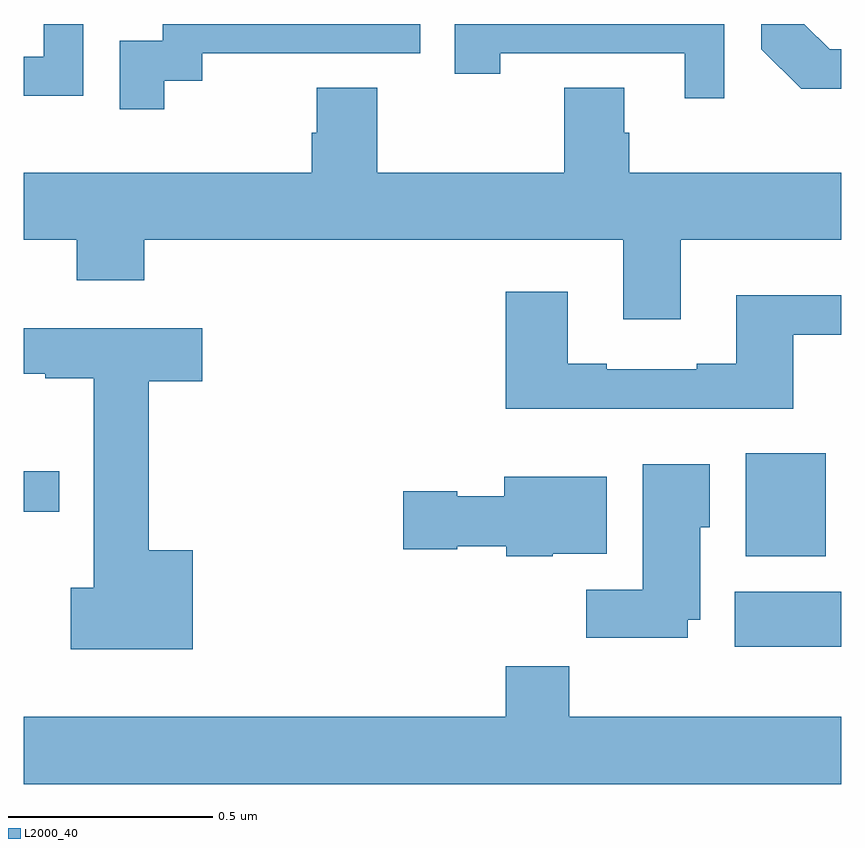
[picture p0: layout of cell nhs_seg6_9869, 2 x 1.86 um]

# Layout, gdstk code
import gdstk
lib = gdstk.Library(unit=1e-6, precision=1e-09)
def R(c, l, rs):  # rectangles x0, y0, x1, y1
    for r in rs: c.add(gdstk.rectangle(r[:2], r[2:], *l))
def P(c, l, *ps):  # polygons
    for p in ps: c.add(gdstk.Polygon(p, *l))
L2000_40 = (2000, 40)

nhs_seg6_9869 = lib.new_cell('nhs_seg6_9869')
R(nhs_seg6_9869, L2000_40, [(240.74,976.976,241,977.11), (240.767,977.198,240.963,977.449), (239,977.306,239.086,977.406)])
P(nhs_seg6_9869, L2000_40, [(241,978.438),(240.972,978.438),(240.91,978.5),(240.804,978.5),(240.804,978.438),(240.902,978.341),(241,978.341)],
  [(240.714,978.5),(240.055,978.5),(240.055,978.378),(240.166,978.378),(240.166,978.429),(240.617,978.429),(240.617,978.318),(240.714,978.318)],
  [(239.344,978.361),(239.436,978.361),(239.436,978.429),(239.97,978.429),(239.97,978.5),(239.34,978.5),(239.34,978.459),(239.235,978.459),(239.235,978.291),(239.344,978.291)],
  [(239.145,978.5),(239.049,978.5),(239.049,978.42),(239,978.42),(239,978.324),(239.145,978.324)],
  [(240.467,977.778),(240.607,977.778),(240.607,977.972),(241,977.972),(241,978.136),(240.482,978.136),(240.482,978.234),(240.469,978.234),(240.469,978.344),(240.322,978.344),(240.322,978.136),(239.865,978.136),(239.865,978.344),(239.717,978.344),(239.717,978.234),(239.705,978.234),(239.705,978.136),(239,978.136),(239,977.972),(239.129,977.972),(239.129,977.873),(239.294,977.873),(239.294,977.972),(240.467,977.972)],
  [(240.883,977.739),(241,977.739),(241,977.836),(240.743,977.836),(240.743,977.668),(240.647,977.668),(240.647,977.655),(240.427,977.655),(240.427,977.668),(240.331,977.668),(240.331,977.845),(240.179,977.845),(240.179,977.558),(240.883,977.558)],
  [(239.413,977.212),(239.306,977.212),(239.306,977.626),(239.437,977.626),(239.437,977.755),(239,977.755),(239,977.644),(239.052,977.644),(239.052,977.633),(239.171,977.633),(239.171,977.12),(239.115,977.12),(239.115,976.97),(239.413,976.97)],
  [(240.625,977.042),(240.655,977.042),(240.655,977.268),(240.679,977.268),(240.679,977.422),(240.515,977.422),(240.515,977.116),(240.376,977.116),(240.376,976.998),(240.625,976.998)],
  [(240.294,977.204),(240.427,977.204),(240.427,977.392),(240.176,977.392),(240.176,977.344),(240.06,977.344),(240.06,977.357),(239.928,977.357),(239.928,977.215),(240.06,977.215),(240.06,977.222),(240.18,977.222),(240.18,977.198),(240.294,977.198)],
  [(241,976.804),(240.335,976.804),(240.335,976.928),(240.179,976.928),(240.179,976.804),(239,976.804),(239,976.64),(241,976.64)])

lib.write_gds('nhs_seg6_9869.gds')
